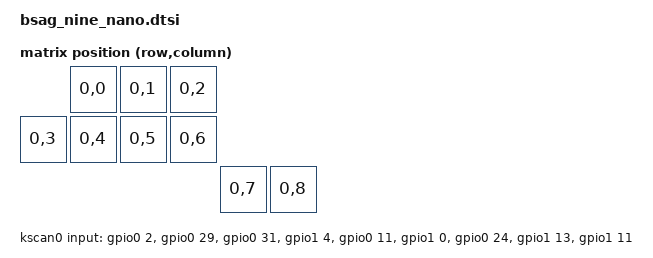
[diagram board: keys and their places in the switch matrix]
/*
 * Copyright (c) 2020 The ZMK Contributors
 *
 * SPDX-License-Identifier: MIT
 */

#include <dt-bindings/zmk/matrix_transform.h>

/ {

	chosen {
		zmk,kscan = &kscan0;
		zmk,matrix_transform = &default_transform;
	};

	default_transform: keymap_transform_0 {
		compatible = "zmk,matrix-transform";
		columns = <9>;
		rows = <1>;
		map = <
		         RC(0,0)  RC(0,1)  RC(0,2)
		RC(0,3)  RC(0,4)  RC(0,5)  RC(0,6)
		                                   RC(0,7)   RC(0,8)
		>;
	};

	kscan0: kscan {
		compatible = "zmk,kscan-gpio-direct";
		label = "KSCAN";
		input-gpios
		= <&gpio0 2  (GPIO_ACTIVE_LOW | GPIO_PULL_UP)>
		, <&gpio0 29 (GPIO_ACTIVE_LOW | GPIO_PULL_UP)>
		, <&gpio0 31 (GPIO_ACTIVE_LOW | GPIO_PULL_UP)>
		, <&gpio1 4  (GPIO_ACTIVE_LOW | GPIO_PULL_UP)>
		, <&gpio0 11 (GPIO_ACTIVE_LOW | GPIO_PULL_UP)>
		, <&gpio1 0  (GPIO_ACTIVE_LOW | GPIO_PULL_UP)>
		, <&gpio0 24 (GPIO_ACTIVE_LOW | GPIO_PULL_UP)>
		, <&gpio1 13 (GPIO_ACTIVE_LOW | GPIO_PULL_UP)>
		, <&gpio1 11 (GPIO_ACTIVE_LOW | GPIO_PULL_UP)>
		;
	};

};
